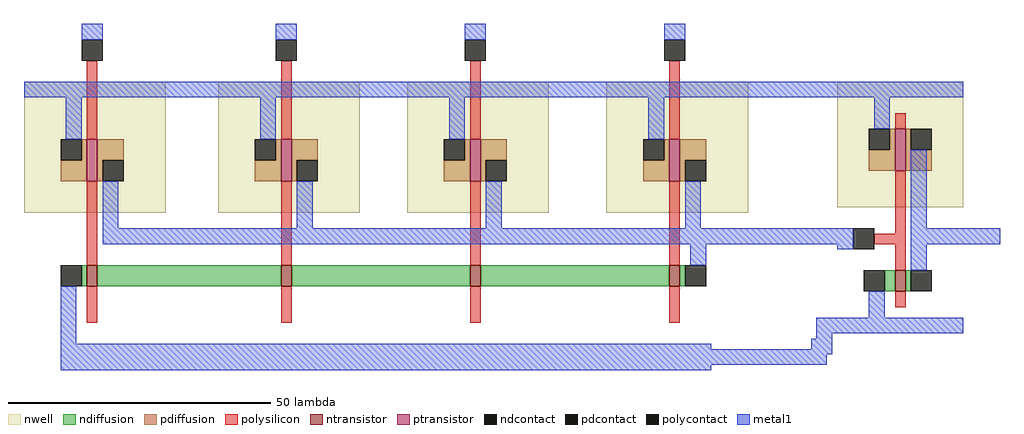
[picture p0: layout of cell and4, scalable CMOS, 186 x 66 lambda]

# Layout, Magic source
magic
tech scmos
<< nwell >>
rect -40 -2 -13 23
rect -3 -2 24 23
rect 33 -2 60 23
rect 71 -2 98 23
<< ntransistor >>
rect -28 -16 -26 -12
rect 9 -16 11 -12
rect 45 -16 47 -12
rect 83 -16 85 -12
<< ptransistor >>
rect -28 4 -26 12
rect 9 4 11 12
rect 45 4 47 12
rect 83 4 85 12
<< ndiffusion >>
rect -29 -16 -28 -12
rect -26 -16 9 -12
rect 11 -16 45 -12
rect 47 -16 83 -12
rect 85 -16 86 -12
<< pdiffusion >>
rect -29 8 -28 12
rect -33 4 -28 8
rect -26 8 -21 12
rect -26 4 -25 8
rect 8 8 9 12
rect 4 4 9 8
rect 11 8 16 12
rect 11 4 12 8
rect 44 8 45 12
rect 40 4 45 8
rect 47 8 52 12
rect 47 4 48 8
rect 82 8 83 12
rect 78 4 83 8
rect 85 8 90 12
rect 85 4 86 8
<< ndcontact >>
rect -33 -16 -29 -12
rect 86 -16 90 -12
<< pdcontact >>
rect -33 8 -29 12
rect -25 4 -21 8
rect 4 8 8 12
rect 12 4 16 8
rect 40 8 44 12
rect 48 4 52 8
rect 78 8 82 12
rect 86 4 90 8
<< polysilicon >>
rect -28 12 -26 27
rect 9 12 11 27
rect 45 12 47 27
rect 83 12 85 27
rect -28 -12 -26 4
rect 9 -12 11 4
rect 45 -12 47 4
rect 83 -12 85 4
rect -28 -23 -26 -16
rect 9 -23 11 -16
rect 45 -23 47 -16
rect 83 -23 85 -16
<< polycontact >>
rect -29 27 -25 31
rect 8 27 12 31
rect 44 27 48 31
rect 82 27 86 31
<< metal1 >>
rect -29 31 -25 34
rect 8 31 12 34
rect 44 31 48 34
rect 82 31 86 34
rect -40 20 117 23
rect -32 12 -29 20
rect 5 12 8 20
rect 41 12 44 20
rect 79 12 82 20
rect -25 -5 -22 4
rect 12 -5 15 4
rect 48 -5 51 4
rect 86 -5 89 4
rect -25 -8 116 -5
rect 138 -8 146 -5
rect 87 -12 90 -8
rect -33 -27 -30 -16
rect 111 -25 118 -22
rect 111 -26 114 -25
rect -33 -28 91 -27
rect 110 -28 114 -26
rect -33 -29 114 -28
rect -33 -31 113 -29
rect -33 -32 91 -31
use not  not_0
transform 1 0 127 0 1 8
box -12 -33 12 15
<< end >>

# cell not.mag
magic
tech scmos
<< nwell >>
rect -12 -9 12 15
<< ntransistor >>
rect -1 -25 1 -21
<< ptransistor >>
rect -1 -2 1 6
<< ndiffusion >>
rect -3 -25 -1 -21
rect 1 -25 2 -21
<< pdiffusion >>
rect -2 2 -1 6
rect -6 -2 -1 2
rect 1 2 2 6
rect 1 -2 6 2
<< ndcontact >>
rect -7 -25 -3 -21
rect 2 -25 6 -21
<< pdcontact >>
rect -6 2 -2 6
rect 2 2 6 6
<< polysilicon >>
rect -1 6 1 9
rect -1 -14 1 -2
rect -5 -16 1 -14
rect -1 -21 1 -16
rect -1 -28 1 -25
<< polycontact >>
rect -9 -17 -5 -13
<< metal1 >>
rect -12 12 12 15
rect -5 6 -2 12
rect 2 -13 5 2
rect -12 -17 -9 -13
rect 2 -16 12 -13
rect 2 -21 5 -16
rect -6 -30 -3 -25
rect -12 -33 12 -30
<< end >>
